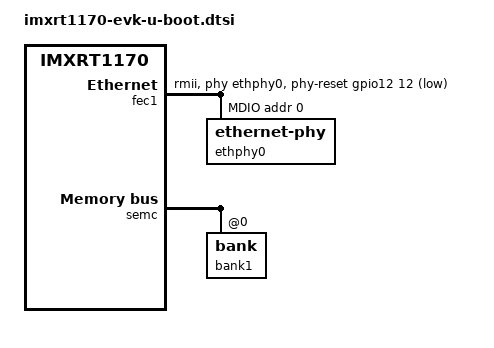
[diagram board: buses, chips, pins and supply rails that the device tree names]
// SPDX-License-Identifier: (GPL-2.0+ OR BSD-3-Clause)
/*
 * Copyright (C) 2022
 * Author(s): Jesse Taube <Mr.Bossman075@gmail.com>
 * Giulio Benetti <giulio.benetti@benettiengineering.com>
 */

#include "imxrt1170-pinfunc.h"

/ {
	binman: binman {
		multiple-images;
	};

	chosen {
		bootph-pre-ram;
	};

	clocks {
		bootph-pre-ram;
	};

	soc {
		bootph-pre-ram;

		fec1: ethernet@40424000 {
                       compatible = "fsl,imxrt1xxx-fec";
		       reg = <0x40424000 0x4000>;
		       fsl,num-tx-queues=<3>;
		       fsl,num-rx-queues=<3>;
		       status = "disabled";
                };

		iomuxc_lpsr: iomuxc_lpsr@40c08000 {
			compatible = "fsl,imxrt-lpsr-iomuxc";
			reg = <0x40c08000 0xe0>;
			fsl,mux_mask = <0x7>;
		};
	};
};

&osc {
	bootph-pre-ram;
};

&rcosc16M {
	bootph-pre-ram;
};

&osc32k {
	bootph-pre-ram;
};

&clks {
	bootph-pre-ram;
};

&gpio1 {
	bootph-pre-ram;
};

&gpio2 {
	bootph-pre-ram;
};

&gpio3 {
	bootph-pre-ram;
};

&gpio4 {
	bootph-pre-ram;
};

&gpio5 {
	bootph-pre-ram;
};

&gpt1 {
	bootph-pre-ram;
};

&anatop {
	bootph-pre-ram;
};

&ocotp {
	bootph-pre-ram;
};

&dcdc {
	bootph-pre-ram;
};

&lpuart1 { /* console */
	bootph-pre-ram;
};

&semc {
	bootph-pre-ram;

	bank1: bank@0 {
		bootph-pre-ram;
	};
};

&iomuxc {
	bootph-pre-ram;

	imxrt1170-evk {
		bootph-pre-ram;
		pinctrl_lpuart1: lpuart1grp {
			bootph-pre-ram;
		};

		pinctrl_usdhc0: usdhc0grp {
			bootph-pre-ram;
		};
		pinctrl_semc: semcgrp {
			bootph-pre-ram;
		};

		pinctrl_fec1: fec1grp {
			fsl,pins = <
				IOMUXC_GPIO_AD_32_ENET_MDC		0x06
				IOMUXC_GPIO_AD_33_ENET_MDIO		0x06
				IOMUXC_GPIO_DISP_B2_02_ENET_TX_DATA00	0x02
				IOMUXC_GPIO_DISP_B2_03_ENET_TX_DATA01	0x02
				IOMUXC_GPIO_DISP_B2_04_ENET_TX_EN	0x02
				IOMUXC_GPIO_DISP_B2_05_ENET_REF_CLK	(IMX_PAD_SION | 0x03)
				IOMUXC_GPIO_DISP_B2_06_ENET_RX_DATA00	(IMX_PAD_SION | 0x06)
				IOMUXC_GPIO_DISP_B2_07_ENET_RX_DATA01	(IMX_PAD_SION | 0x06)
				IOMUXC_GPIO_DISP_B2_08_ENET_RX_EN	0x06
				IOMUXC_GPIO_DISP_B2_09_ENET_RX_ER	0x06
				/* INT */
				IOMUXC_GPIO_AD_12_GPIO9_IO11		0x06
			>;
		};
	};
};

&iomuxc_lpsr {
	imxrt1170-evk {
		pinctrl_fec1_lpsr: fec1lpsrgrp {
			fsl,pins = <
				/* RST */
				IOMUXC_GPIO_LPSR_12_GPIO12_IO12		0x06
			>;
		};
	};
};

&usdhc1 {
	bootph-pre-ram;
};

&fec1 {
	pinctrl-names = "default";
	pinctrl-0 = <&pinctrl_fec1>, <&pinctrl_fec1_lpsr>;
	status = "okay";
	phy-mode = "rmii";
	phy-handle = <&ethphy0>;
	phy-reset-duration = <1>;
	phy-reset-gpios = <&gpio12 12 GPIO_ACTIVE_LOW>;
	assigned-clocks = <&clks IMXRT1170_CLK_ROOT_ENET1>;
	assigned-clock-parents = <&clks IMXRT1170_CLK_PLL1_DIV2>;
	assigned-clock-rates = <50000000>;
	clocks = <&clks IMXRT1170_CLK_ROOT_BUS>, <&clks IMXRT1170_CLK_ENET1>;
	clock-names = "ipg", "enet_clk_ref";

	mdio {
		#address-cells = <1>;
		#size-cells = <0>;

		ethphy0: ethernet-phy@2 {
			reg = <0>;
			micrel,led-mode = <1>;
		};
	};
};
